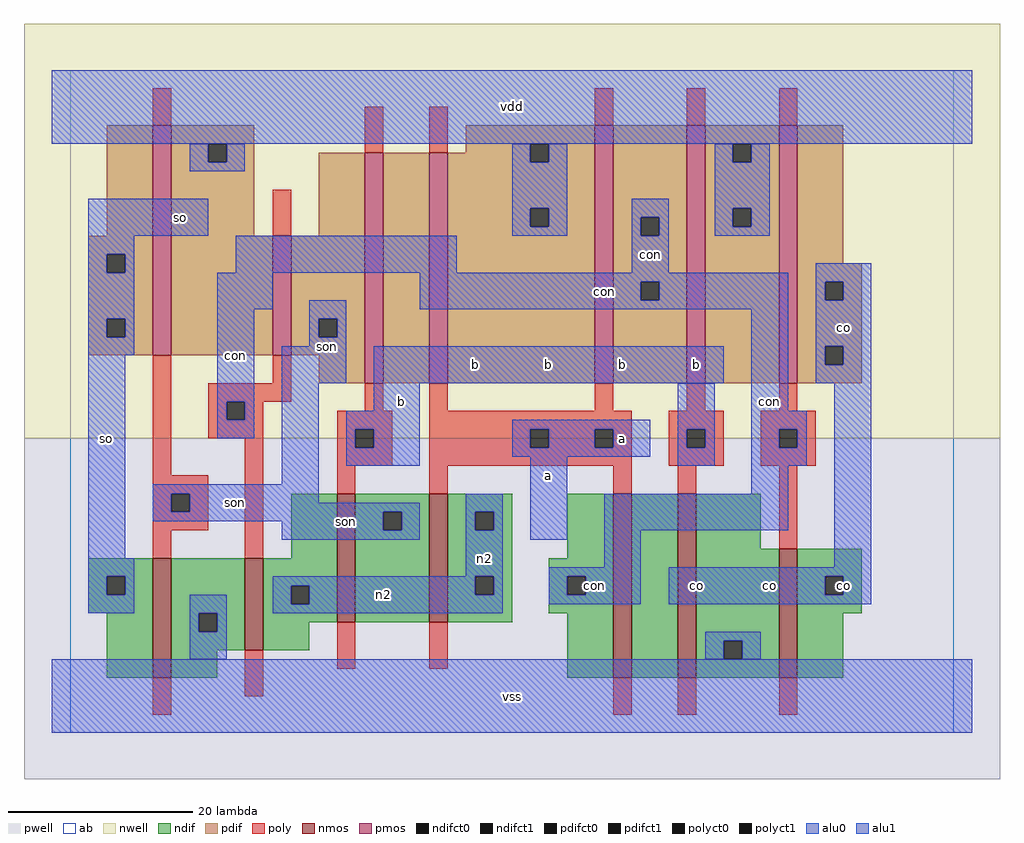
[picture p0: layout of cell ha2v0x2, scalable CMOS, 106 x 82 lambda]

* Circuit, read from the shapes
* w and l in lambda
.subckt ha2v0x2 a b co con n2 so son vdd vss
M1 vss son so VSUBS nfet w=13 l=2
M2 n2 con vss VSUBS nfet w=10 l=2
M3 son b n2 VSUBS nfet w=14 l=2
M4 n2 a son VSUBS nfet w=14 l=2
M5 n1 a con VSUBS nfet w=20 l=2
M6 vss b n1 VSUBS nfet w=20 l=2
M7 co con vss VSUBS nfet w=14 l=2
M8 vdd son so n3 pfet w=25 l=2
M9 son con vdd n3 pfet w=13 l=2
M10 n4 b son n3 pfet w=25 l=2
M11 vdd a n4 n3 pfet w=25 l=2
M12 con a vdd n3 pfet w=28 l=2
M13 vdd b con n3 pfet w=28 l=2
M14 co con vdd n3 pfet w=28 l=2
.ends

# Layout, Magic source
magic
tech scmos
<< ab >>
rect 0 0 96 72
<< nwell >>
rect -5 32 101 77
<< pwell >>
rect -5 -5 101 32
<< poly >>
rect 9 66 11 70
rect 32 63 34 68
rect 39 63 41 68
rect 57 66 59 70
rect 67 66 69 70
rect 77 66 79 70
rect 22 54 24 59
rect 9 28 11 41
rect 22 38 24 41
rect 15 36 24 38
rect 15 34 17 36
rect 19 34 21 36
rect 32 35 34 38
rect 39 35 41 38
rect 57 35 59 38
rect 67 35 69 38
rect 77 35 79 38
rect 15 32 21 34
rect 9 26 15 28
rect 9 24 11 26
rect 13 24 15 26
rect 9 22 15 24
rect 9 19 11 22
rect 19 19 21 32
rect 29 33 35 35
rect 29 31 31 33
rect 33 31 35 33
rect 29 29 35 31
rect 39 33 61 35
rect 39 31 50 33
rect 52 31 57 33
rect 59 31 61 33
rect 39 29 61 31
rect 65 33 71 35
rect 65 31 67 33
rect 69 31 71 33
rect 65 29 71 31
rect 75 33 81 35
rect 75 31 77 33
rect 79 31 81 33
rect 75 29 81 31
rect 29 26 31 29
rect 39 26 41 29
rect 59 26 61 29
rect 66 26 68 29
rect 9 2 11 6
rect 19 4 21 9
rect 29 7 31 12
rect 39 7 41 12
rect 77 20 79 29
rect 59 2 61 6
rect 66 2 68 6
rect 77 2 79 6
<< ndif >>
rect 24 19 29 26
rect 2 17 9 19
rect 2 15 4 17
rect 6 15 9 17
rect 2 13 9 15
rect 4 6 9 13
rect 11 13 19 19
rect 11 11 14 13
rect 16 11 19 13
rect 11 9 19 11
rect 21 16 29 19
rect 21 14 24 16
rect 26 14 29 16
rect 21 12 29 14
rect 31 24 39 26
rect 31 22 34 24
rect 36 22 39 24
rect 31 12 39 22
rect 41 24 48 26
rect 41 22 44 24
rect 46 22 48 24
rect 41 17 48 22
rect 54 19 59 26
rect 41 15 44 17
rect 46 15 48 17
rect 41 12 48 15
rect 52 17 59 19
rect 52 15 54 17
rect 56 15 59 17
rect 52 13 59 15
rect 21 9 26 12
rect 11 6 16 9
rect 54 6 59 13
rect 61 6 66 26
rect 68 20 75 26
rect 68 10 77 20
rect 68 8 71 10
rect 73 8 77 10
rect 68 6 77 8
rect 79 17 86 20
rect 79 15 82 17
rect 84 15 86 17
rect 79 13 86 15
rect 79 6 84 13
<< pdif >>
rect 4 54 9 66
rect 2 52 9 54
rect 2 50 4 52
rect 6 50 9 52
rect 2 45 9 50
rect 2 43 4 45
rect 6 43 9 45
rect 2 41 9 43
rect 11 64 20 66
rect 11 62 15 64
rect 17 62 20 64
rect 43 64 57 66
rect 43 63 50 64
rect 11 54 20 62
rect 27 54 32 63
rect 11 41 22 54
rect 24 45 32 54
rect 24 43 27 45
rect 29 43 32 45
rect 24 41 32 43
rect 27 38 32 41
rect 34 38 39 63
rect 41 62 50 63
rect 52 62 57 64
rect 41 57 57 62
rect 41 55 50 57
rect 52 55 57 57
rect 41 38 57 55
rect 59 56 67 66
rect 59 54 62 56
rect 64 54 67 56
rect 59 49 67 54
rect 59 47 62 49
rect 64 47 67 49
rect 59 38 67 47
rect 69 64 77 66
rect 69 62 72 64
rect 74 62 77 64
rect 69 57 77 62
rect 69 55 72 57
rect 74 55 77 57
rect 69 38 77 55
rect 79 51 84 66
rect 79 49 86 51
rect 79 47 82 49
rect 84 47 86 49
rect 79 42 86 47
rect 79 40 82 42
rect 84 40 86 42
rect 79 38 86 40
<< alu1 >>
rect -2 64 98 72
rect 2 54 15 58
rect 2 52 7 54
rect 2 50 4 52
rect 6 50 7 52
rect 2 45 7 50
rect 2 43 4 45
rect 6 43 7 45
rect 2 41 7 43
rect 2 19 6 41
rect 33 38 71 42
rect 33 35 38 38
rect 30 33 38 35
rect 30 31 31 33
rect 33 31 38 33
rect 30 29 38 31
rect 48 33 63 34
rect 48 31 50 33
rect 52 31 57 33
rect 59 31 63 33
rect 48 30 63 31
rect 2 17 7 19
rect 50 21 54 30
rect 81 49 87 51
rect 81 47 82 49
rect 84 47 87 49
rect 81 42 87 47
rect 81 40 82 42
rect 84 40 87 42
rect 81 38 87 40
rect 83 18 87 38
rect 2 15 4 17
rect 6 15 7 17
rect 2 13 7 15
rect 65 17 87 18
rect 65 15 82 17
rect 84 15 87 17
rect 65 14 87 15
rect -2 0 98 8
<< nmos >>
rect 9 6 11 19
rect 19 9 21 19
rect 29 12 31 26
rect 39 12 41 26
rect 59 6 61 26
rect 66 6 68 26
rect 77 6 79 20
<< pmos >>
rect 9 41 11 66
rect 22 41 24 54
rect 32 38 34 63
rect 39 38 41 63
rect 57 38 59 66
rect 67 38 69 66
rect 77 38 79 66
<< polyct0 >>
rect 17 34 19 36
rect 11 24 13 26
rect 67 31 69 33
rect 77 31 79 33
<< polyct1 >>
rect 31 31 33 33
rect 50 31 52 33
rect 57 31 59 33
<< ndifct0 >>
rect 14 11 16 13
rect 24 14 26 16
rect 34 22 36 24
rect 44 22 46 24
rect 44 15 46 17
rect 54 15 56 17
rect 71 8 73 10
<< ndifct1 >>
rect 4 15 6 17
rect 82 15 84 17
<< pdifct0 >>
rect 15 62 17 64
rect 27 43 29 45
rect 50 62 52 64
rect 50 55 52 57
rect 62 54 64 56
rect 62 47 64 49
rect 72 62 74 64
rect 72 55 74 57
<< pdifct1 >>
rect 4 50 6 52
rect 4 43 6 45
rect 82 47 84 49
rect 82 40 84 42
<< alu0 >>
rect 13 62 15 64
rect 17 62 19 64
rect 13 61 19 62
rect 48 62 50 64
rect 52 62 54 64
rect 48 57 54 62
rect 70 62 72 64
rect 74 62 76 64
rect 48 55 50 57
rect 52 55 54 57
rect 48 54 54 55
rect 61 56 65 58
rect 61 54 62 56
rect 64 54 65 56
rect 70 57 76 62
rect 70 55 72 57
rect 74 55 76 57
rect 70 54 76 55
rect 18 50 42 54
rect 61 50 65 54
rect 16 46 22 50
rect 38 49 78 50
rect 38 47 62 49
rect 64 47 78 49
rect 16 36 20 46
rect 26 45 30 47
rect 38 46 78 47
rect 26 43 27 45
rect 29 43 30 45
rect 26 42 30 43
rect 16 34 17 36
rect 19 34 20 36
rect 16 32 20 34
rect 23 38 30 42
rect 23 27 27 38
rect 66 33 70 38
rect 66 31 67 33
rect 69 31 70 33
rect 9 26 27 27
rect 9 24 11 26
rect 13 25 27 26
rect 13 24 38 25
rect 9 23 34 24
rect 23 22 34 23
rect 36 22 38 24
rect 23 21 38 22
rect 43 24 47 26
rect 43 22 44 24
rect 46 22 47 24
rect 43 17 47 22
rect 66 29 70 31
rect 74 35 78 46
rect 74 33 80 35
rect 74 31 77 33
rect 79 31 80 33
rect 74 29 80 31
rect 74 26 78 29
rect 58 22 78 26
rect 58 18 62 22
rect 22 16 44 17
rect 13 13 17 15
rect 22 14 24 16
rect 26 15 44 16
rect 46 15 47 17
rect 26 14 47 15
rect 52 17 62 18
rect 52 15 54 17
rect 56 15 62 17
rect 52 14 62 15
rect 22 13 47 14
rect 13 11 14 13
rect 16 11 17 13
rect 13 8 17 11
rect 69 10 75 11
rect 69 8 71 10
rect 73 8 75 10
<< labels >>
rlabel alu0 18 41 18 41 6 con
rlabel alu0 30 23 30 23 6 son
rlabel alu0 18 25 18 25 6 son
rlabel alu0 28 42 28 42 6 son
rlabel alu0 34 15 34 15 6 n2
rlabel alu0 57 16 57 16 6 con
rlabel alu0 45 19 45 19 6 n2
rlabel alu0 76 36 76 36 6 con
rlabel alu0 58 48 58 48 6 con
rlabel alu0 63 52 63 52 6 con
rlabel alu1 4 32 4 32 6 so
rlabel alu1 12 56 12 56 6 so
rlabel alu1 44 40 44 40 6 b
rlabel alu1 36 36 36 36 6 b
rlabel alu1 48 4 48 4 6 vss
rlabel alu1 68 16 68 16 6 co
rlabel alu1 52 28 52 28 6 a
rlabel alu1 60 32 60 32 6 a
rlabel alu1 68 40 68 40 6 b
rlabel alu1 60 40 60 40 6 b
rlabel alu1 52 40 52 40 6 b
rlabel alu1 48 68 48 68 6 vdd
rlabel alu1 84 16 84 16 6 co
rlabel alu1 76 16 76 16 6 co
rlabel alu1 84 44 84 44 6 co
<< end >>
